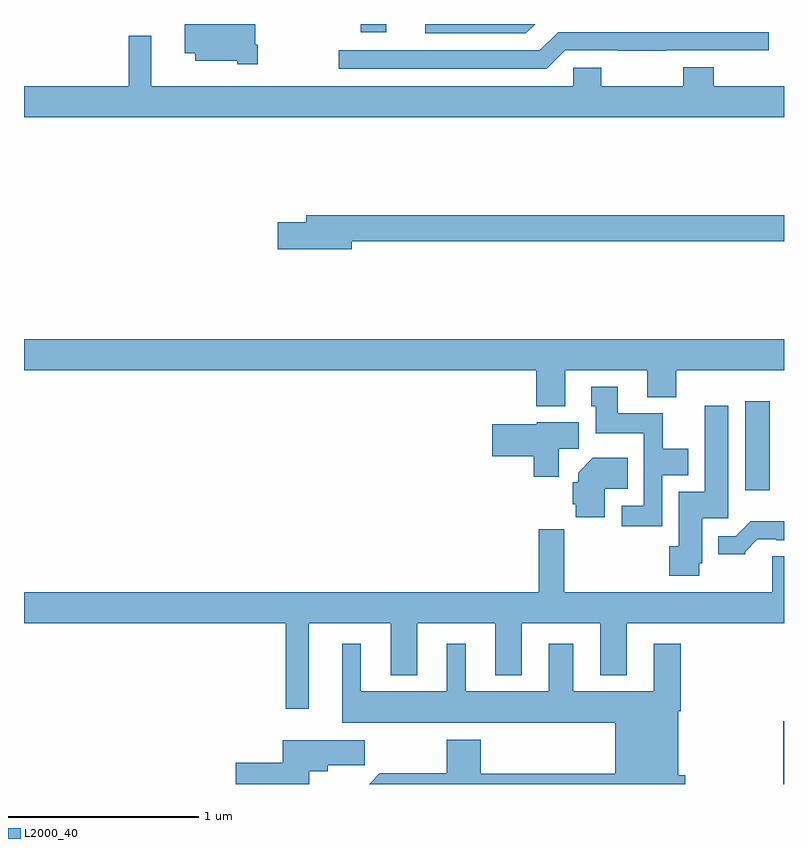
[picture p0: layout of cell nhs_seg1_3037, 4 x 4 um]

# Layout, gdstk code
import gdstk
lib = gdstk.Library(unit=1e-6, precision=1e-09)
def R(c, l, rs):  # rectangles x0, y0, x1, y1
    for r in rs: c.add(gdstk.rectangle(r[:2], r[2:], *l))
def P(c, l, *ps):  # polygons
    for p in ps: c.add(gdstk.Polygon(p, *l))
L2000_40 = (2000, 40)

nhs_seg1_3037 = lib.new_cell('nhs_seg1_3037')
R(nhs_seg1_3037, L2000_40, [(278.996,572.199,279,572.53), (278.795,573.744,278.926,574.213), (276.773,576.156,276.907,576.199)])
P(nhs_seg1_3037, L2000_40, [(276.231,576.091),(276.217,576.091),(276.217,576.199),(275.846,576.199),(275.846,576.044),(275.9,576.044),(275.9,576.005),(276.123,576.005),(276.123,575.987),(276.231,575.987)],
  [(277.691,576.199),(277.113,576.199),(277.113,576.15),(277.642,576.15)],
  [(277.848,576.06),(278.125,576.06),(278.125,576.059),(278.381,576.059),(278.381,576.06),(278.92,576.06),(278.92,576.156),(277.811,576.156),(277.715,576.06),(276.657,576.06),(276.657,575.964),(277.752,575.964)],
  [(279,575.872),(278.63,575.872),(278.63,575.971),(278.47,575.971),(278.47,575.872),(278.037,575.872),(278.037,575.97),(277.89,575.97),(277.89,575.872),(275.67,575.872),(275.67,576.136),(275.551,576.136),(275.551,575.872),(275,575.872),(275,575.708),(279,575.708)],
  [(276.724,575.056),(279,575.056),(279,575.192),(276.485,575.192),(276.485,575.156),(276.336,575.156),(276.336,575.014),(276.724,575.014)],
  [(277.849,574.376),(278.279,574.376),(278.279,574.235),(278.432,574.235),(278.432,574.376),(279,574.376),(279,574.54),(275,574.54),(275,574.376),(277.697,574.376),(277.697,574.187),(277.849,574.187)],
  [(278.358,573.824),(278.497,573.824),(278.497,573.964),(278.361,573.964),(278.361,574.15),(278.125,574.15),(278.125,574.291),(277.985,574.291),(277.985,574.188),(278.009,574.188),(278.009,574.046),(278.262,574.046),(278.262,573.663),(278.145,573.663),(278.145,573.555),(278.358,573.555)],
  [(278.553,573.36),(278.569,573.36),(278.569,573.597),(278.707,573.597),(278.707,574.189),(278.582,574.189),(278.582,573.736),(278.447,573.736),(278.447,573.45),(278.396,573.45),(278.396,573.294),(278.553,573.294)],
  [(277.814,573.964),(277.921,573.964),(277.921,574.102),(277.698,574.102),(277.698,574.093),(277.464,574.093),(277.464,573.923),(277.682,573.923),(277.682,573.816),(277.814,573.816)],
  [(278.056,573.752),(278.177,573.752),(278.177,573.916),(277.994,573.916),(277.916,573.838),(277.916,573.786),(277.889,573.786),(277.889,573.672),(277.904,573.672),(277.904,573.602),(278.056,573.602)],
  [(278.796,573.422),(278.86,573.486),(278.959,573.486),(278.959,573.483),(279,573.483),(279,573.583),(278.824,573.583),(278.745,573.504),(278.654,573.504),(278.654,573.407),(278.796,573.407)],
  [(276.499,573.044),(276.929,573.044),(276.929,572.771),(277.069,572.771),(277.069,573.044),(277.481,573.044),(277.481,572.771),(277.621,572.771),(277.621,573.044),(278.033,573.044),(278.033,572.771),(278.173,572.771),(278.173,573.044),(279,573.044),(279,573.398),(278.939,573.398),(278.939,573.208),(277.844,573.208),(277.844,573.541),(277.708,573.541),(277.708,573.208),(275,573.208),(275,573.044),(276.378,573.044),(276.378,572.595),(276.499,572.595)],
  [(278.48,572.244),(278.443,572.244),(278.443,572.582),(278.456,572.582),(278.456,572.938),(278.315,572.938),(278.315,572.686),(277.891,572.686),(277.891,572.938),(277.763,572.938),(277.763,572.686),(277.324,572.686),(277.324,572.938),(277.226,572.938),(277.226,572.686),(276.772,572.686),(276.772,572.938),(276.674,572.938),(276.674,572.522),(278.111,572.522),(278.111,572.252),(277.403,572.252),(277.403,572.431),(277.225,572.431),(277.225,572.255),(276.872,572.255),(276.816,572.199),(278.48,572.199)],
  [(276.502,572.267),(276.598,572.267),(276.598,572.299),(276.793,572.299),(276.793,572.428),(276.362,572.428),(276.362,572.312),(276.114,572.312),(276.114,572.199),(276.502,572.199)])

lib.write_gds('nhs_seg1_3037.gds')
